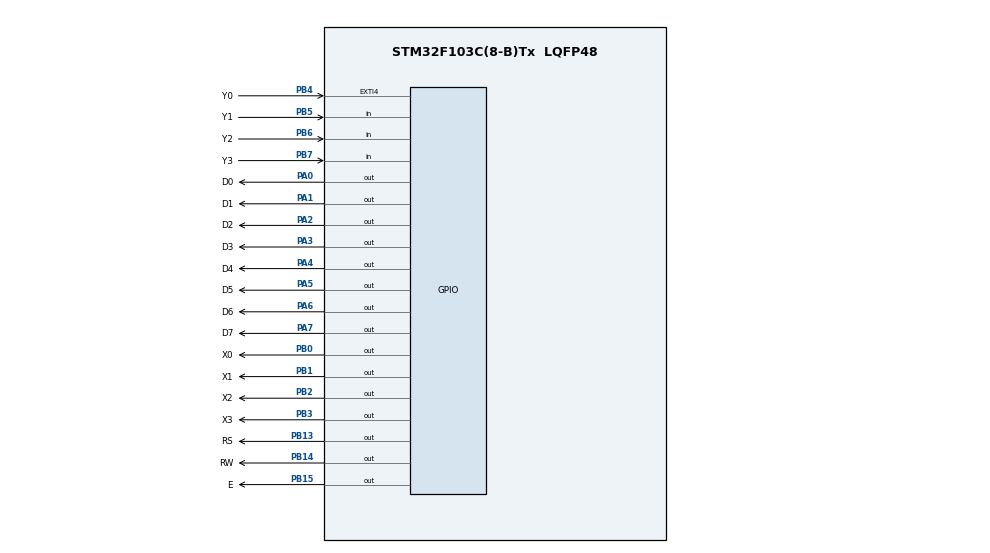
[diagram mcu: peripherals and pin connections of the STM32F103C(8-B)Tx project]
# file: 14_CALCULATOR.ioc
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Mcu.Family=STM32F1
Mcu.Name=STM32F103C(8-B)Tx
Mcu.Package=LQFP48
NVIC.PriorityGroup=NVIC_PRIORITYGROUP_4
PA0-WKUP.GPIO_Label=D0
PA0-WKUP.Signal=GPIO_Output
PA1.GPIO_Label=D1
PA1.Signal=GPIO_Output
PA2.GPIO_Label=D2
PA2.Signal=GPIO_Output
PA3.GPIO_Label=D3
PA3.Signal=GPIO_Output
PA4.GPIO_Label=D4
PA4.Signal=GPIO_Output
PA5.GPIO_Label=D5
PA5.Signal=GPIO_Output
PA6.GPIO_Label=D6
PA6.Signal=GPIO_Output
PA7.GPIO_Label=D7
PA7.Signal=GPIO_Output
PB0.GPIO_Label=X0
PB0.Signal=GPIO_Output
PB1.GPIO_Label=X1
PB1.Signal=GPIO_Output
PB13.GPIO_Label=RS
PB13.Signal=GPIO_Output
PB14.GPIO_Label=RW
PB14.Signal=GPIO_Output
PB15.GPIO_Label=E
PB15.Signal=GPIO_Output
PB2.GPIO_Label=X2
PB2.Signal=GPIO_Output
PB3.GPIO_Label=X3
PB3.Signal=GPIO_Output
PB4.GPIO_Label=Y0
PB4.GPIO_PuPd=GPIO_PULLUP
PB4.Signal=GPXTI4
PB5.GPIO_Label=Y1
PB5.GPIO_PuPd=GPIO_PULLUP
PB5.Signal=GPIO_Input
PB6.GPIO_Label=Y2
PB6.GPIO_PuPd=GPIO_PULLUP
PB6.Signal=GPIO_Input
PB7.GPIO_Label=Y3
PB7.GPIO_PuPd=GPIO_PULLUP
PB7.Signal=GPIO_Input
PC14-OSC32_IN.Mode=LSE-External-Oscillator
PC14-OSC32_IN.Signal=RCC_OSC32_IN
PC15-OSC32_OUT.Mode=LSE-External-Oscillator
PC15-OSC32_OUT.Signal=RCC_OSC32_OUT
PD0-OSC_IN.Mode=HSE-External-Oscillator
PD0-OSC_IN.Signal=RCC_OSC_IN
PD1-OSC_OUT.Mode=HSE-External-Oscillator
PD1-OSC_OUT.Signal=RCC_OSC_OUT
ProjectManager.HeapSize=0x200
ProjectManager.StackSize=0x400
ProjectManager.TargetToolchain=STM32CubeIDE
RCC.APB1Freq_Value=8000000
RCC.APB2Freq_Value=8000000
VP_SYS_VS_ND.Mode=No_Debug
board=custom

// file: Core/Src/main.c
/* USER CODE BEGIN Header */
/**
  ******************************************************************************
  * @file           : main.c
  * @brief          : Main program body
  ******************************************************************************
  * @attention
  *
  * Copyright (c) 2024 STMicroelectronics.
  * All rights reserved.
  *
  * This software is licensed under terms that can be found in the LICENSE file
  * in the root directory of this software component.
  * If no LICENSE file comes with this software, it is provided AS-IS.
  *
  ******************************************************************************
  */
/* USER CODE END Header */
#include "main.h"

/* USER CODE BEGIN Includes */
#include "lcd1602.h"
#include "key_matrix.h"
#include "stdio.h"
#include "stdlib.h"
#include "string.h"
/* USER CODE END Includes */

void SystemClock_Config(void);
static void MX_GPIO_Init(void);

int main(void)
{

  /* USER CODE BEGIN 1 */
	char str0[10]="\0";
	char str1[10]="\0";
	char str2[10]="\0";

	char str[20]="\0";
  /* USER CODE END 1 */

  /* MCU Configuration--------------------------------------------------------*/

  /* Reset of all peripherals, Initializes the Flash interface and the Systick. */
  HAL_Init();

  /* Configure the system clock */
  SystemClock_Config();

  /* Initialize all configured peripherals */
  MX_GPIO_Init();
  /* USER CODE BEGIN 2 */
  LCD_Init();  //初始化LCD1602
  LCD_ShowString(0,0,str);  //LCD 显示设定字符

  /* USER CODE END 2 */

  /* Infinite loop */
  /* USER CODE BEGIN WHILE */
  int num[3] = {0,0,0};
  int num_change_flag[3] = {0,0,0};

  int result = 0;
  int result_flag = 0;
  int invalid_input_flag = 0;

  char* op[2] = {"",""};
  int op_flag[2] = {0,0};

  int i = 0;

  while (1)
  {
	  int m = keyScan();
	  switch(m){
	  case 0:
		  result_flag = 0;
		  num[i] = num[i]*10+0;
		  num_change_flag[i] = 1;
		  break;
	  case 1:
		  result_flag = 0;
		  num[i] = num[i]*10+1;
		  num_change_flag[i] = 1;
		  break;
	  case 2:
		  result_flag = 0;
		  num[i] = num[i]*10+2;
		  num_change_flag[i] = 1;
		  break;
	  case 3:
		  result_flag = 0;
		  num[i] = num[i]*10+3;
		  num_change_flag[i] = 1;
		  break;
	  case 4:
		  result_flag = 0;
		  num[i] = num[i]*10+4;
		  num_change_flag[i] = 1;
		  break;
	  case 5:
		  result_flag = 0;
		  num[i] = num[i]*10+5;
		  num_change_flag[i] = 1;
		  break;
	  case 6:
		  result_flag = 0;
		  num[i] = num[i]*10+6;
		  num_change_flag[i] = 1;
		  break;
	  case 7:
		  result_flag = 0;
		  num[i] = num[i]*10+7;
		  num_change_flag[i] = 1;
		  break;
	  case 8:
		  result_flag = 0;
		  num[i] = num[i]*10+8;
		  num_change_flag[i] = 1;
		  break;
	  case 9:
		  result_flag = 0;
		  num[i] = num[i]*10+9;
		  num_change_flag[i] = 1;
		  break;
	  case 10: //CLR
		  num[0] = 0;
		  num[1] = 0;
		  num[2] = 0;
		  num_change_flag[0] = 0;
		  num_change_flag[1] = 0;
		  num_change_flag[2] = 0;

		  result = 0;
		  result_flag = 0;
		  invalid_input_flag = 0;

		  op[0] = "";
		  op[1] = "";
		  op_flag[0] = 0;
		  op_flag[0] = 0;

		  i=0;

		  LCD_Init();
		  break;
	  case 11: // *
		  result_flag = 0;
		  if(num_change_flag[0]==0) break;
		  if(num_change_flag[0]==1&&num_change_flag[1]==0){
			  i = 1;
			  op[0] = "*";
			  op_flag[0] = 1;
		  }else if(num_change_flag[0]==1&&num_change_flag[1]==1&&num_change_flag[2]==0){
			  i = 2;
			  op[1] = "*";
			  op_flag[1] = 1;
		  }else if(num_change_flag[0]==1&&num_change_flag[1]==1&&num_change_flag[2]==1){
			  break;
		  }
		  break;
	  case 12: // ÷
		  result_flag = 0;
		  if(num_change_flag[0]==0) break;
		  if(num_change_flag[0]==1&&num_change_flag[1]==0){
			  i = 1;
			  op[0] = "/";
			  op_flag[0] = 1;
		  }else if(num_change_flag[0]==1&&num_change_flag[1]==1&&num_change_flag[2]==0){
			  i = 2;
			  op[1] = "/";
			  op_flag[1] = 1;
		  }else if(num_change_flag[0]==1&&num_change_flag[1]==1&&num_change_flag[2]==1){
			  break;
		  }
		  break;
	  case 13: // +
		  result_flag = 0;
		  if(num_change_flag[0]==0) break;
		  if(num_change_flag[0]==1&&num_change_flag[1]==0){
			  i = 1;
			  op[0] = "+";
			  op_flag[0] = 1;
		  }else if(num_change_flag[0]==1&&num_change_flag[1]==1&&num_change_flag[2]==0){
			  i = 2;
			  op[1] = "+";
			  op_flag[1] = 1;
		  }else if(num_change_flag[0]==1&&num_change_flag[1]==1&&num_change_flag[2]==1){
			  break;
		  }
		  break;
	  case 14: // -
		  result_flag = 0;
		  if(num_change_flag[0]==0) break;
		  if(num_change_flag[0]==1&&num_change_flag[1]==0){
			  i = 1;
			  op[0] = "-";
			  op_flag[0] = 1;
		  }else if(num_change_flag[0]==1&&num_change_flag[1]==1&&num_change_flag[2]==0){
			  i = 2;
			  op[1] = "-";
			  op_flag[1] = 1;
		  }else if(num_change_flag[0]==1&&num_change_flag[1]==1&&num_change_flag[2]==1){
			  break;
		  }
		  break;
	  case 15: // =
		  LCD_Init();
		  result_flag = 1;
		  if(num_change_flag[0]==0){
			  ;
		  }else if(num_change_flag[0]==1&&num_change_flag[1]==0){
			  result = num[0];
		  }else if(num_change_flag[0]==1&&num_change_flag[1]==1&&num_change_flag[2]==0){
			  if(!strcmp(op[0],"*")){
				  result = num[0]*num[1];
			  }else if(!strcmp(op[0],"/")){
				  if(num[1]==0) {
					  invalid_input_flag = 1;
					  break;
				  }
				  else result = num[0]/num[1];
			  }else if(!strcmp(op[0],"+")){
				  result = num[0]+num[1];
			  }else if(!strcmp(op[0],"-")){
				  result = num[0]-num[1];
			  }
		  }else if(num_change_flag[0]==1&&num_change_flag[1]==1&&num_change_flag[2]==1){
			  if((!strcmp(op[0],"*")||!strcmp(op[0],"/"))&&(!strcmp(op[1],"*")||!strcmp(op[1],"/"))){

				  if(!strcmp(op[0],"*")){
					  result = num[0]*num[1];
				  }else{
					  if(num[1]==0) {
						  invalid_input_flag = 1;
						  break;
					  }
					  else result = num[0]/num[1];
				  }

				  if(!strcmp(op[1],"*")){
					  result = result*num[2];
				  }else{
					  if(num[2]==0) {
						  invalid_input_flag = 1;
						  break;
					  }
					  else result = result/num[2];
				  }
			  }else if((!strcmp(op[0],"+")||!strcmp(op[0],"-"))&&(!strcmp(op[1],"+")||!strcmp(op[1],"-"))){
				  if(!strcmp(op[0],"+")){
					  result = num[0]+num[1];
				  }else{
					  result = num[0]-num[1];
				  }

				  if(!strcmp(op[1],"+")){
					  result = result+num[2];
				  }else{
					  result = result-num[2];
				  }
			  }else if((!strcmp(op[0],"*")||!strcmp(op[0],"/"))&&(!strcmp(op[1],"+")||!strcmp(op[1],"-"))){
				  if((!strcmp(op[0],"*")||!strcmp(op[0],"/"))){
					  if(!strcmp(op[0],"*")){
						  result = num[0]*num[1];
					  }else{
						  if(num[1]==0) {
							  invalid_input_flag = 1;
							  break;
						  }
						  else result = num[0]/num[1];
					  }
				  }
				  if(!strcmp(op[1],"+")){
					  result = result+num[2];
				  }else{
					  result = result-num[2];
				  }

			  }else if((!strcmp(op[0],"+")||!strcmp(op[0],"-"))&&(!strcmp(op[1],"*")||!strcmp(op[1],"/"))){
				  if((!strcmp(op[1],"*")||!strcmp(op[1],"/"))){
					  if(!strcmp(op[1],"*")){
						  result = num[1]*num[2];
					  }else{
						  if(num[2]==0) {
							  invalid_input_flag = 1;
							  break;
						  }
						  else result = num[1]/num[2];
					  }
				  }
				  if(!strcmp(op[0],"+")){
					  result = result+num[0];
				  }else{
					  result = num[0]-result;
				  }
			  }
		  }

		  if(invalid_input_flag==0) {
			  num[0] = result;
			  num[1] = 0;
			  num[2] = 0;
			  num_change_flag[0] = 1;
			  num_change_flag[1] = 0;
			  num_change_flag[2] = 0;

			  op[0] = "";
			  op[1] = "";
			  op_flag[0] = 0;
			  op_flag[0] = 0;

			  i=0;
		  }
		  break;
	  }

	  memset(str, '\0', sizeof(str));

	  if(result_flag){
		  if(invalid_input_flag) strcpy(str, "invalid input!");
		  else{
			  itoa(result, str, 10);
		  }
	  }else{
		  itoa(num[0], str0, 10);
		  itoa(num[1], str1, 10);
		  itoa(num[2], str2, 10);

		  if(num_change_flag[0])
			  strcat(str, str0);
		  if(op_flag[0])
			  strcat(str,op[0]);
		  if(num_change_flag[1])
			  strcat(str, str1);
		  if(op_flag[1])
			  strcat(str,op[1]);
		  if(num_change_flag[2])
			  strcat(str, str2);
	  }

	  //if(op_flag) strcat(str,op);
	  //if(flag[1]&&change_flag[1]) strcat(str,str2);
	  //itoa(num[0], str, 10);
//	  int len = strlen(str);
//	  itoa(len,str,10);
	  LCD_ShowString(0,0,str);  //LCD 显示设定字符
    /* USER CODE END WHILE */

  }
}

void SystemClock_Config(void)
{
  RCC_OscInitTypeDef RCC_OscInitStruct = {0};
  RCC_ClkInitTypeDef RCC_ClkInitStruct = {0};

  /** Initializes the RCC Oscillators according to the specified parameters
  * in the RCC_OscInitTypeDef structure.
  */
  RCC_OscInitStruct.OscillatorType = RCC_OSCILLATORTYPE_HSI;
  RCC_OscInitStruct.HSIState = RCC_HSI_ON;
  RCC_OscInitStruct.HSICalibrationValue = RCC_HSICALIBRATION_DEFAULT;
  RCC_OscInitStruct.PLL.PLLState = RCC_PLL_NONE;
  if (HAL_RCC_OscConfig(&RCC_OscInitStruct) != HAL_OK)
  {
    Error_Handler();
  }

  /** Initializes the CPU, AHB and APB buses clocks
  */
  RCC_ClkInitStruct.ClockType = RCC_CLOCKTYPE_HCLK|RCC_CLOCKTYPE_SYSCLK
                              |RCC_CLOCKTYPE_PCLK1|RCC_CLOCKTYPE_PCLK2;
  RCC_ClkInitStruct.SYSCLKSource = RCC_SYSCLKSOURCE_HSI;
  RCC_ClkInitStruct.AHBCLKDivider = RCC_SYSCLK_DIV1;
  RCC_ClkInitStruct.APB1CLKDivider = RCC_HCLK_DIV1;
  RCC_ClkInitStruct.APB2CLKDivider = RCC_HCLK_DIV1;

  if (HAL_RCC_ClockConfig(&RCC_ClkInitStruct, FLASH_LATENCY_0) != HAL_OK)
  {
    Error_Handler();
  }
}

static void MX_GPIO_Init(void)
{
  GPIO_InitTypeDef GPIO_InitStruct = {0};

  /* GPIO Ports Clock Enable */
  __HAL_RCC_GPIOC_CLK_ENABLE();
  __HAL_RCC_GPIOD_CLK_ENABLE();
  __HAL_RCC_GPIOA_CLK_ENABLE();
  __HAL_RCC_GPIOB_CLK_ENABLE();

  /*Configure GPIO pin Output Level */
  HAL_GPIO_WritePin(GPIOA, D0_Pin|D1_Pin|D2_Pin|D3_Pin
                          |D4_Pin|D5_Pin|D6_Pin|D7_Pin, GPIO_PIN_RESET);

  /*Configure GPIO pin Output Level */
  HAL_GPIO_WritePin(GPIOB, X0_Pin|X1_Pin|X2_Pin|RS_Pin
                          |RW_Pin|E_Pin|X3_Pin, GPIO_PIN_RESET);

  /*Configure GPIO pins : D0_Pin D1_Pin D2_Pin D3_Pin
                           D4_Pin D5_Pin D6_Pin D7_Pin */
  GPIO_InitStruct.Pin = D0_Pin|D1_Pin|D2_Pin|D3_Pin
                          |D4_Pin|D5_Pin|D6_Pin|D7_Pin;
  GPIO_InitStruct.Mode = GPIO_MODE_OUTPUT_PP;
  GPIO_InitStruct.Pull = GPIO_NOPULL;
  GPIO_InitStruct.Speed = GPIO_SPEED_FREQ_LOW;
  HAL_GPIO_Init(GPIOA, &GPIO_InitStruct);

  /*Configure GPIO pins : X0_Pin X1_Pin X2_Pin RS_Pin
                           RW_Pin E_Pin X3_Pin */
  GPIO_InitStruct.Pin = X0_Pin|X1_Pin|X2_Pin|RS_Pin
                          |RW_Pin|E_Pin|X3_Pin;
  GPIO_InitStruct.Mode = GPIO_MODE_OUTPUT_PP;
  GPIO_InitStruct.Pull = GPIO_NOPULL;
  GPIO_InitStruct.Speed = GPIO_SPEED_FREQ_LOW;
  HAL_GPIO_Init(GPIOB, &GPIO_InitStruct);

  /*Configure GPIO pin : Y0_Pin */
  GPIO_InitStruct.Pin = Y0_Pin;
  GPIO_InitStruct.Mode = GPIO_MODE_IT_RISING;
  GPIO_InitStruct.Pull = GPIO_PULLUP;
  HAL_GPIO_Init(Y0_GPIO_Port, &GPIO_InitStruct);

  /*Configure GPIO pins : Y1_Pin Y2_Pin Y3_Pin */
  GPIO_InitStruct.Pin = Y1_Pin|Y2_Pin|Y3_Pin;
  GPIO_InitStruct.Mode = GPIO_MODE_INPUT;
  GPIO_InitStruct.Pull = GPIO_PULLUP;
  HAL_GPIO_Init(GPIOB, &GPIO_InitStruct);

}

void Error_Handler(void)
{
  __disable_irq();
  while (1)
  {
  }
}
